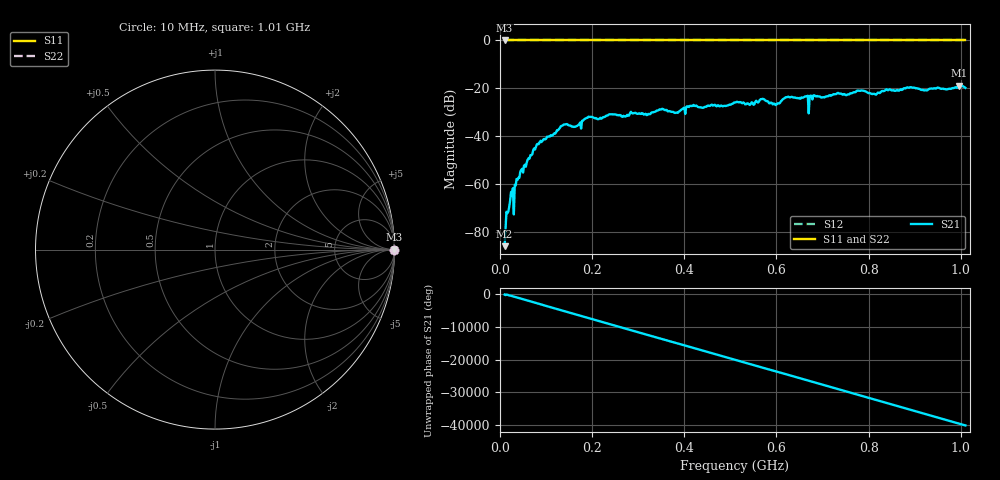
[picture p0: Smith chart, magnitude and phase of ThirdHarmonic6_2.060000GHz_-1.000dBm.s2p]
! 8/17/2025 12:41:22 AM
! C:\ANRITSUVNA\TEMP\TEMP.S2P
! CHANNEL.1
! TR.MEASUREMENT
! RAW.DATA
! RF.CORRECTION.OFF
! AVERAGING.OFF
! IF.BANDWIDTH: 5KHZ
! SWEEPTYPE:  FREQ.SWEEP(Linear)
! Reference Plane Port Info
! PORT:  PORT1  PORT2
! DISTANCE:  0  m  0  m
! TIME:  0  s  0  s
! PHASE.OFFSET:  0  deg.  0  deg.
! LOSS:  0  dB  0  dB
! REF.LOSS:  0  dB  0  dB
! REF.FREQ:  0  Hz  0  Hz
! Power Info
! POWER:  -20  dBm  -20  dBm
! EFF.POWER:  -20  dBm  -20  dBm
! SOURCE.ATTEN:  0  dB  0  dB
! TEST.ATTEN:  0  dB  0  dB
# GHZ S RI R 50.0
! FREQ.GHZ  S11RE  S11IM  S21RE  S21IM  S12RE  S12IM  S22RE  S22IM
!; PortSelection: Port_12
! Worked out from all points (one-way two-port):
!   501 points, 10 MHz to 1.01 GHz, reference 50 ohm
!   highest |S21| = -18.99 dB at 996 MHz (marker M1); lowest = -86.1 dB at 10 MHz (marker M2)
!   lowest |S11| = 0.0 dB at 10 MHz (marker M3)
!   |S11| at or under -10 dB: nowhere
!   |S22| runs from 0.0 to 0.0 dB; largest |S21 - S12| = 1.1
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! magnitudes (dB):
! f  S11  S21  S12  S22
! 10 MHz  0.0  -86.1  0.0  0.0
! 24 MHz  0.0  -63.4  0.0  0.0
! 34 MHz  0.0  -60.7  0.0  0.0
! 36 MHz  0.0  -58.0  0.0  0.0
! 78 MHz  0.0  -44.5  0.0  0.0
! 136 MHz  0.0  -35.6  0.0  0.0
! 178 MHz  0.0  -33.7  0.0  0.0
! 194 MHz  0.0  -32.0  0.0  0.0
! 322 MHz  0.0  -30.7  0.0  0.0
! 344 MHz  0.0  -29.2  0.0  0.0
! 382 MHz  0.0  -30.2  0.0  0.0
! 416 MHz  0.0  -27.5  0.0  0.0
! 510 MHz  0.0  -26.0  0.0  0.0
! 546 MHz  0.0  -25.9  0.0  0.0
! 570 MHz  0.0  -24.4  0.0  0.0
! 596 MHz  0.0  -26.5  0.0  0.0
! 622 MHz  0.0  -23.8  0.0  0.0
! 674 MHz  0.0  -23.1  0.0  0.0
! 678 MHz  0.0  -24.7  0.0  0.0
! 844 MHz  0.0  -20.7  0.0  0.0
! 996 MHz  0.0  -19.0  0.0  0.0
! 1.01 GHz  0.0  -19.9  0.0  0.0
